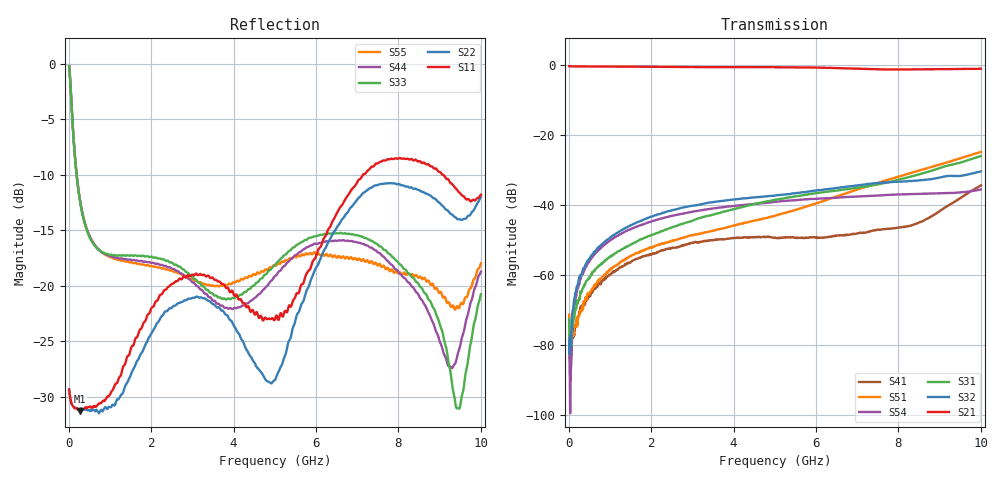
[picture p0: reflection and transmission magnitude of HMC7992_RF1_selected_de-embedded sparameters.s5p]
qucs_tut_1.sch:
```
<Qucs Schematic 24.4.1>
<Properties>
  <View=-45,-597,1028,86,1.02146,0,0>
  <Grid=10,10,1>
  <DataSet=qucs_tut_1.dat>
  <DataDisplay=qucs_tut_1.dpl>
  <OpenDisplay=0>
  <Script=qucs_tut_1.m>
  <RunScript=0>
  <showFrame=0>
  <FrameText0=Title>
  <FrameText1=Drawn By:>
  <FrameText2=Date:>
  <FrameText3=Revision:>
</Properties>
<Symbol>
</Symbol>
<Components>
  <.SP SPTC1 1 10 -450 0 61 0 0 "log" 1 "10 MHz" 1 "10 GHz" 1 "501" 1 "no" 0 "1" 0 "2" 0 "no" 0 "no" 0>
  <SUBST Subst1 1 30 -190 -30 24 0 0 "4" 1 "500 um" 1 "35 um" 1 "2e-4" 1 "0.022e-6" 1 "0.15e-6" 1>
  <Pac P1 1 350 -330 -74 -26 1 1 "1" 1 "50 Ohm" 1 "0 dBm" 0 "1 GHz" 0 "26.85" 0 "true" 0>
  <GND * 1 350 -300 0 0 0 0>
  <Pac P3 1 460 -350 -74 -26 1 1 "3" 1 "50 Ohm" 1 "0 dBm" 0 "1 GHz" 0 "26.85" 0 "true" 0>
  <GND * 1 460 -320 0 0 0 0>
  <GND * 1 640 -290 0 0 0 0>
  <SPfile Q1 1 640 -380 -26 -100 0 0 "HMC7992_de-embedded_s-parameters/HMC7992_RF1_selected_de-embedded sparameters.s5p" 0 "rectangular" 0 "linear" 0 "open" 0 "5" 0>
  <Pac P5 1 570 -290 -74 -26 1 1 "5" 1 "50 Ohm" 1 "0 dBm" 0 "1 GHz" 0 "26.85" 0 "true" 0>
  <GND * 1 570 -260 0 0 0 0>
  <GND * 1 880 -300 0 0 0 0>
  <Pac P2 1 880 -330 18 -26 0 1 "2" 1 "50 Ohm" 1 "0 dBm" 0 "1 GHz" 0 "26.85" 0 "true" 0>
  <Pac P4 1 780 -350 -74 -26 1 1 "4" 1 "50 Ohm" 1 "0 dBm" 0 "1 GHz" 0 "26.85" 0 "true" 0>
  <GND * 1 780 -320 0 0 0 0>
  <Eqn Eqn1 1 290 -160 -34 16 0 0 "S11_dB=dB(S[1,1])" 1 "S12_dB=dB(S[1,2])" 1 "S21_dB=dB(S[2,1])" 1 "S31_dB=dB(S[3,1])" 1 "S41_dB=dB(S[4,1])" 1 "S51_dB=dB(S[5,1])" 1 "S22_dB=dB(S[2,2])" 1 "yes" 0>
</Components>
<Wires>
  <350 -440 350 -360 "" 0 0 0 "">
  <350 -440 610 -440 "" 0 0 0 "">
  <670 -440 880 -440 "" 0 0 0 "">
  <880 -440 880 -360 "" 0 0 0 "">
  <460 -380 610 -380 "" 0 0 0 "">
  <570 -320 610 -320 "" 0 0 0 "">
  <670 -380 780 -380 "" 0 0 0 "">
</Wires>
<Diagrams>
</Diagrams>
<Paintings>
</Paintings>
```
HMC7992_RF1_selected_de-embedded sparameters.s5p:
! Device:	HMC7992
! Description:	Silicon MMIC SP4T Non-Reflective Switch
! Package:	LP3E - 16 pin 3x3mm QFN plastic package
! Frequency:	0.1 -  6 GHz
! Ports:
! RFC = Port 1
! RF1 = Port 2
! RF2 = Port 3
! RF3 = Port 4
! RF4 = Port 5
! State: RF1 Selected
! Supply Voltage:
! Vdd = 5 V
! Control Voltages:
! VA  = 0 V
! VB  = 0 V
! Data:	Data was collected using a calibrated network analyzer with AFR software.
!	Fixtures were calculated using AFR and fixturing was applied to collect
!	this Deembedded  S Parameter data of HMC7992.
! Note:	Analog Devices supplies this data as a sample of measured data at the package pin
!	for this product.  Your particular data for this product may vary.
!	Data was taken at 25 degrees C.
!	Analog Devices reserves the right to change this data at anytime.
# GHz S  dB  R 50
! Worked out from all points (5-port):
!   801 points, 10 MHz to 10 GHz, reference 50 ohm
!   strongest paths, dB at 10 MHz, 2.507 GHz, 5.005 GHz, 7.503 GHz, 10 GHz:
!     S21: -0.5, -0.7, -0.7, -1.4, -1.2
!     S32: -78.7, -41.5, -37.4, -33.8, -30.5
!     S31: -72.7, -46.4, -38.6, -34.1, -26.1
!     S54: -78.0, -43.1, -39.1, -37.3, -35.6
!     S51: -71.3, -50.3, -43.1, -33.7, -24.9
!     S41: -83.6, -52.3, -49.4, -47.0, -34.5
!   lowest |S11| = -31.3 dB at 272.2 MHz (marker M1), VSWR 1.06, Z = 52.8 - j0.453 ohm
!   |S11| at or under -10 dB: start of sweep to 7.141 GHz; 9.069 GHz to end of sweep
